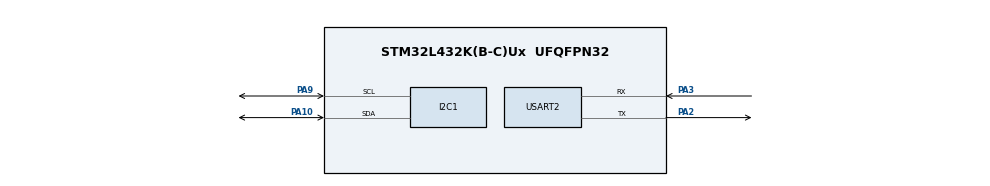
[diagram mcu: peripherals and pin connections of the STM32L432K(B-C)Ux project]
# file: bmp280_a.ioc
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FREERTOS.Mutexes01=i2c1_mutex,Dynamic,NULL,Available
FREERTOS.Tasks01=defaultTask,24,128,StartDefaultTask,Default,NULL,Dynamic,NULL,NULL;bmp280_task,8,128,StartTask02,Default,NULL,Dynamic,NULL,NULL
FREERTOS.configENABLE_FPU=1
FREERTOS.configUSE_NEWLIB_REENTRANT=1
I2C1.Timing=0x00100D14
Mcu.Family=STM32L4
Mcu.Name=STM32L432K(B-C)Ux
Mcu.Package=UFQFPN32
NVIC.PriorityGroup=NVIC_PRIORITYGROUP_4
PA10.Mode=I2C
PA10.Signal=I2C1_SDA
PA2.Mode=Asynchronous
PA2.Signal=USART2_TX
PA3.Mode=Asynchronous
PA3.Signal=USART2_RX
PA9.Mode=I2C
PA9.Signal=I2C1_SCL
ProjectManager.HeapSize=0x200
ProjectManager.StackSize=0x400
ProjectManager.TargetToolchain=STM32CubeIDE
RCC.HSE_VALUE=8000000
RCC.HSI48_VALUE=48000000
RCC.HSI_VALUE=16000000
RCC.LSE_VALUE=32768
RCC.MSI_VALUE=4000000
RCC.VCOOutputFreq_Value=32000000
USART2.VirtualMode-Asynchronous=VM_ASYNC
VP_FREERTOS_VS_CMSIS_V2.Mode=CMSIS_V2
board=custom

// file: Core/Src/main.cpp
/* USER CODE BEGIN Header */
/**
  ******************************************************************************
  * @file           : main.c
  * @brief          : Main program body
  ******************************************************************************
  * @attention
  *
  * Copyright (c) 2026 STMicroelectronics.
  * All rights reserved.
  *
  * This software is licensed under terms that can be found in the LICENSE file
  * in the root directory of this software component.
  * If no LICENSE file comes with this software, it is provided AS-IS.
  *
  ******************************************************************************
  */
/* USER CODE END Header */
#include "main.h"
#include "cmsis_os.h"

/* USER CODE BEGIN Includes */
#include <math.h>
#include <stdio.h>
#include <string.h>

#define _USE_BME280
#include "bme280.h"
/* USER CODE END Includes */

I2C_HandleTypeDef hi2c1;

UART_HandleTypeDef huart2;

/* Definitions for defaultTask */
osThreadId_t defaultTaskHandle;
const osThreadAttr_t defaultTask_attributes = {
  .name = "defaultTask",
  .stack_size = 128 * 4,
  .priority = (osPriority_t) osPriorityNormal,
};
/* Definitions for bmp280_task */
osThreadId_t bmp280_taskHandle;
const osThreadAttr_t bmp280_task_attributes = {
  .name = "bmp280_task",
  .stack_size = 128 * 4,
  .priority = (osPriority_t) osPriorityLow,
};
/* Definitions for i2c1_mutex */
osMutexId_t i2c1_mutexHandle;
const osMutexAttr_t i2c1_mutex_attributes = {
  .name = "i2c1_mutex"
};
/* USER CODE BEGIN PV */
float t,h;
double temperature,humidity;
double PressureOffset=0.10;
double p,pressure;
uint8_t charBuffer[255];

#ifdef _USE_BME280
	using namespace BME280;
	bme280_param_t bme_280_param = {
			._hi2c = &hi2c1, // I2C bus 1
			._DevAddress=bme280_i2c_addr_2, // use I2C Address 2
			._osrs_p_t=bme280_osrs_p_1x, // Pressure Oversamping Rate
			._osrs_t_t=bme280_osrs_t_1x, // Temperature Oversampling Rate
			._osrs_h_t=bme280_osrs_h_1x, // Humidity Oversampling Rate
			._mode_t=bme280_forced_mode, // Forced Mode
			._sb_t=bme280_sb_125, // Standby time between measurements
			._filter_t=bme280_filter_off // IIR Filter
	};

	BME280::bme280i2c bme280_sensor(bme_280_param);
	double bme280_temp,bme280_pressure,bme280_humidity;
#endif
/* USER CODE END PV */

void SystemClock_Config(void);
static void MX_GPIO_Init(void);
static void MX_I2C1_Init(void);
static void MX_USART2_UART_Init(void);
void StartDefaultTask(void *argument);
void StartTask02(void *argument);

int main(void)
{

  /* MCU Configuration--------------------------------------------------------*/

  /* Reset of all peripherals, Initializes the Flash interface and the Systick. */
  HAL_Init();

  /* Configure the system clock */
  SystemClock_Config();

  /* Initialize all configured peripherals */
  MX_GPIO_Init();
  MX_I2C1_Init();
  MX_USART2_UART_Init();

  /* Init scheduler */
  osKernelInitialize();
  /* Create the mutex(es) */
  /* creation of i2c1_mutex */
  i2c1_mutexHandle = osMutexNew(&i2c1_mutex_attributes);

  /* Create the thread(s) */
  /* creation of defaultTask */
  defaultTaskHandle = osThreadNew(StartDefaultTask, NULL, &defaultTask_attributes);

  /* creation of bmp280_task */
  bmp280_taskHandle = osThreadNew(StartTask02, NULL, &bmp280_task_attributes);

  /* Start scheduler */
  osKernelStart();

  /* We should never get here as control is now taken by the scheduler */

  /* Infinite loop */
  while (1)
  {

  }
}

void SystemClock_Config(void)
{
  RCC_OscInitTypeDef RCC_OscInitStruct = {0};
  RCC_ClkInitTypeDef RCC_ClkInitStruct = {0};

  /** Configure the main internal regulator output voltage
  */
  if (HAL_PWREx_ControlVoltageScaling(PWR_REGULATOR_VOLTAGE_SCALE1) != HAL_OK)
  {
    Error_Handler();
  }

  /** Initializes the RCC Oscillators according to the specified parameters
  * in the RCC_OscInitTypeDef structure.
  */
  RCC_OscInitStruct.OscillatorType = RCC_OSCILLATORTYPE_MSI;
  RCC_OscInitStruct.MSIState = RCC_MSI_ON;
  RCC_OscInitStruct.MSICalibrationValue = 0;
  RCC_OscInitStruct.MSIClockRange = RCC_MSIRANGE_6;
  RCC_OscInitStruct.PLL.PLLState = RCC_PLL_NONE;
  if (HAL_RCC_OscConfig(&RCC_OscInitStruct) != HAL_OK)
  {
    Error_Handler();
  }

  /** Initializes the CPU, AHB and APB buses clocks
  */
  RCC_ClkInitStruct.ClockType = RCC_CLOCKTYPE_HCLK|RCC_CLOCKTYPE_SYSCLK
                              |RCC_CLOCKTYPE_PCLK1|RCC_CLOCKTYPE_PCLK2;
  RCC_ClkInitStruct.SYSCLKSource = RCC_SYSCLKSOURCE_MSI;
  RCC_ClkInitStruct.AHBCLKDivider = RCC_SYSCLK_DIV1;
  RCC_ClkInitStruct.APB1CLKDivider = RCC_HCLK_DIV1;
  RCC_ClkInitStruct.APB2CLKDivider = RCC_HCLK_DIV1;

  if (HAL_RCC_ClockConfig(&RCC_ClkInitStruct, FLASH_LATENCY_0) != HAL_OK)
  {
    Error_Handler();
  }
}

static void MX_I2C1_Init(void)
{

  hi2c1.Instance = I2C1;
  hi2c1.Init.Timing = 0x00100D14;
  hi2c1.Init.OwnAddress1 = 0;
  hi2c1.Init.AddressingMode = I2C_ADDRESSINGMODE_7BIT;
  hi2c1.Init.DualAddressMode = I2C_DUALADDRESS_DISABLE;
  hi2c1.Init.OwnAddress2 = 0;
  hi2c1.Init.OwnAddress2Masks = I2C_OA2_NOMASK;
  hi2c1.Init.GeneralCallMode = I2C_GENERALCALL_DISABLE;
  hi2c1.Init.NoStretchMode = I2C_NOSTRETCH_DISABLE;
  if (HAL_I2C_Init(&hi2c1) != HAL_OK)
  {
    Error_Handler();
  }

  /** Configure Analogue filter
  */
  if (HAL_I2CEx_ConfigAnalogFilter(&hi2c1, I2C_ANALOGFILTER_ENABLE) != HAL_OK)
  {
    Error_Handler();
  }

  /** Configure Digital filter
  */
  if (HAL_I2CEx_ConfigDigitalFilter(&hi2c1, 0) != HAL_OK)
  {
    Error_Handler();
  }

}

static void MX_USART2_UART_Init(void)
{

  huart2.Instance = USART2;
  huart2.Init.BaudRate = 115200;
  huart2.Init.WordLength = UART_WORDLENGTH_8B;
  huart2.Init.StopBits = UART_STOPBITS_1;
  huart2.Init.Parity = UART_PARITY_NONE;
  huart2.Init.Mode = UART_MODE_TX_RX;
  huart2.Init.HwFlowCtl = UART_HWCONTROL_NONE;
  huart2.Init.OverSampling = UART_OVERSAMPLING_16;
  huart2.Init.OneBitSampling = UART_ONE_BIT_SAMPLE_DISABLE;
  huart2.AdvancedInit.AdvFeatureInit = UART_ADVFEATURE_NO_INIT;
  if (HAL_UART_Init(&huart2) != HAL_OK)
  {
    Error_Handler();
  }

}

static void MX_GPIO_Init(void)
{

  /* GPIO Ports Clock Enable */
  __HAL_RCC_GPIOA_CLK_ENABLE();

}

void StartDefaultTask(void *argument)
{
  /* USER CODE BEGIN 5 */
  /* Infinite loop */
  for(;;)
  {

	    sprintf((char*)charBuffer,".");
	    HAL_UART_Transmit(&huart2,charBuffer,strlen((char*)charBuffer),HAL_MAX_DELAY);

#ifdef _USE_BME280
           bme280_sensor.main();
           if(bme280_sensor.newData()){

          	bme280_sensor.GetTemperature(&bme280_temp);
          	bme280_sensor.GetPressure(&bme280_pressure);
          	bme280_sensor.GetHumidity(&bme280_humidity);
					   if (! isnan(bme280_temp)) {  // check if 'is not a number'
						   bme280_temp = bme280_temp*9/5+32;
									 /* Write temperature to Debug UART */
									 sprintf((char*)charBuffer,"Temperature: %f\t\t",bme280_temp);
									 HAL_UART_Transmit(&huart2,charBuffer,strlen((char*)charBuffer),HAL_MAX_DELAY);
								   } else {
									 printf("Failed to read temperature");
							   }
					   if (! isnan(bme280_pressure)) {  // check if 'is not a number'
						   	   bme280_pressure = bme280_pressure * 0.00029529983071445+ 0.05;
					   									 /* Write temperature to Debug UART */
					   									 sprintf((char*)charBuffer,"Pressure: %f\t\n",bme280_pressure);
					   									 HAL_UART_Transmit(&huart2,charBuffer,strlen((char*)charBuffer),HAL_MAX_DELAY);
					   								   } else {
					   									 printf("Failed to read pressure");
					   							   }
					   if (! isnan(bme280_humidity)) {  // check if 'is not a number'
					   					   									 /* Write temperature to Debug UART */
					   					   									 sprintf((char*)charBuffer,"humidity: %f %\t\n",bme280_humidity);
					   					   									 HAL_UART_Transmit(&huart2,charBuffer,strlen((char*)charBuffer),HAL_MAX_DELAY);
					   					   								   } else {
					   					   									 printf("Failed to read humidity");
					   					   							   }
           }

#endif

    osDelay(1);
  }
  /* USER CODE END 5 */
}

void StartTask02(void *argument)
{
  for(;;)
  {
    osDelay(1);
  }
}

void Error_Handler(void)
{
  __disable_irq();
  while (1)
  {
  }
}
